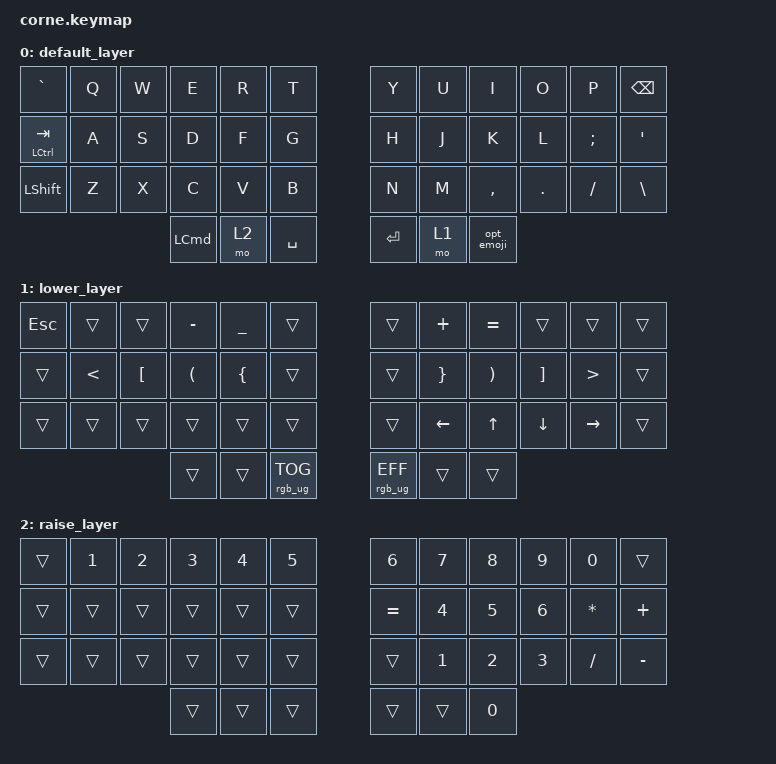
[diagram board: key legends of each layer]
/*
 * Copyright (c) 2020 The ZMK Contributors
 *
 * SPDX-License-Identifier: MIT
 */

#include <behaviors.dtsi>
#include <dt-bindings/led/led.h>
#include <dt-bindings/zmk/keys.h>
#include <dt-bindings/zmk/bt.h>
#include <dt-bindings/zmk/rgb.h>
#include <dt-bindings/zmk/backlight.h>

&spi1 {
	compatible = "nordic,nrf-spim";
	status = "okay";
	mosi-pin = <6>;
	// Unused pins, needed for SPI definition, but not used by the ws2812 driver itself.
	sck-pin = <5>;
	miso-pin = <7>;

	led_strip: ws2812@0 {
		compatible = "worldsemi,ws2812-spi";
		label = "WS2812";

		/* SPI */
		reg = <0>; /* ignored, but necessary for SPI bindings */
		spi-max-frequency = <4000000>;

		/* WS2812 */
		chain-length = <6>; /* arbitrary; change at will */
		spi-one-frame = <0x70>;
		spi-zero-frame = <0x40>;
		color-mapping = <LED_COLOR_ID_GREEN LED_COLOR_ID_RED LED_COLOR_ID_BLUE>;
	};
};

/ {
	chosen {
		zmk,underglow = &led_strip;
	};
};

&led_strip { chain-length = <27>; };

/ {
        macros {
            emoji: emoji {
                compatible = "zmk,behavior-macro";
                label = "MACRO_EMOJI_0";
                #binding-cells = <0>;
                bindings
                    = <&macro_press &kp LCTRL>
                    , <&macro_press &kp LCMD>
                    , <&macro_tap &kp SPACE>
                    , <&macro_release &kp LCMD>
                    , <&macro_release &kp LCTRL>
                    ;
            };
        };

        behaviors {
            opt_emoji: opt_emoji_0 {
                compatible = "zmk,behavior-tap-dance";
                label = "TAP_DANCE_OPTION_EMOJI_0";
                #binding-cells = <0>;
                tapping-term-ms = <300>;
                bindings = <&kp RALT>, <&emoji>;
            };
        };

        keymap {
                compatible = "zmk,keymap";

                default_layer {
// -----------------------------------------------------------------------------------------
// | `          |  Q  |  W  |  E  |  R  |  T  |   |  Y  |  U   |  I        |  O  |  P  | BKSP |
// | CTRL / TAB |  A  |  S  |  D  |  F  |  G  |   |  H  |  J   |  K        |  L  |  ;  |  '   |
// | SHFT       |  Z  |  X  |  C  |  V  |  B  |   |  N  |  M   |  ,        |  .  |  /  | \    |
//                         | LCMD | LWR | SPC |   | ENT | RSE  | OPT_EMOJI |
                        bindings = <
   &kp GRAVE      &kp Q &kp W    &kp E    &kp R &kp T       &kp Y   &kp U  &kp I      &kp O   &kp P    &kp BSPC
   &mt LCTRL TAB  &kp A &kp S    &kp D    &kp F &kp G       &kp H   &kp J  &kp K      &kp L   &kp SEMI &kp SQT
   &kp LSHFT      &kp Z &kp X    &kp C    &kp V &kp B       &kp N   &kp M  &kp COMMA  &kp DOT &kp FSLH &kp BSLH
                                 &kp LCMD &mo 2 &kp SPACE   &kp RET &mo 1  &opt_emoji
                        >;
                };
                lower_layer {
// -----------------------------------------------------------------------------------------
// |  ESC |     |     |  -  |  _  |         |   |         |  +  |  =  |     |     |      |
// |      |  <  |  [  |  (  |  {  |         |   |         |  }  |  )  |  ]  |  >  |      |
// |      |     |     |     |     |         |   |         | LFT |  UP | DWN | RGT |      |
//                    |     |     | RGB_TOG |   | RGB_EFF |     |     |
                        bindings = <
   &kp ESC    &trans  &trans    &kp MINUS  &kp UNDER  &trans            &trans           &kp PLUS  &kp EQUAL  &trans    &trans     &trans
   &trans     &kp LT  &kp LBKT  &kp LPAR   &kp LBRC   &trans            &trans           &kp RBRC  &kp RPAR   &kp RBKT  &kp GT     &trans
   &trans     &trans  &trans    &trans     &trans     &trans            &trans           &kp LEFT  &kp UP     &kp DOWN  &kp RIGHT  &trans
                          	    &trans     &trans     &rgb_ug RGB_TOG   &rgb_ug RGB_EFF  &trans    &trans
                        >;
                };

                raise_layer {
// -----------------------------------------------------------------------------------------
// |     |  1  |  2  |  3  |  4  |  5  |   |  6  |  7  |  8  |  9  |  0  |     |
// |     |     |     |     |     |     |   |  =  |  4  |  5  |  6  |  *  |  +  |
// |     |     |     |     |     |     |   |     |  1  |  2  |  3  |  /  |  -  |
//                   |     |     |     |   |     |     |  0  |
                        bindings = <
   &trans  &kp N1  &kp N2  &kp N3  &kp N4  &kp N5    &kp N6     &kp N7  &kp N8  &kp N9 &kp N0    &trans
   &trans  &trans  &trans  &trans  &trans  &trans    &kp EQUAL  &kp N4  &kp N5  &kp N6 &kp STAR  &kp PLUS
   &trans  &trans  &trans  &trans  &trans  &trans    &trans     &kp N1  &kp N2  &kp N3 &kp FSLH  &kp MINUS
                    	   &trans  &trans  &trans    &trans     &trans  &kp N0
                        >;
                };
        };
};
